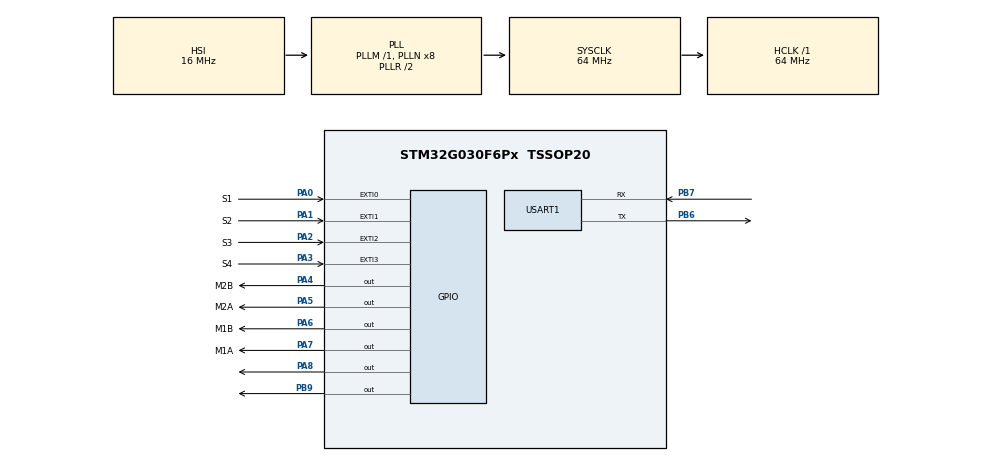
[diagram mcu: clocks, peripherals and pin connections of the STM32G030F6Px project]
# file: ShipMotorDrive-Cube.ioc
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Mcu.Family=STM32G0
Mcu.Name=STM32G030F6Px
Mcu.Package=TSSOP20
NVIC.EXTI0_1_IRQn=true\:0\:0\:false\:false\:true\:true\:true\:true
NVIC.EXTI2_3_IRQn=true\:0\:0\:false\:false\:true\:true\:true\:true
NVIC.TIM14_IRQn=true\:0\:0\:false\:false\:true\:true\:true\:true
NVIC.USART1_IRQn=true\:0\:0\:false\:false\:true\:true\:true\:true
PA0.GPIO_Label=S1
PA0.GPIO_ModeDefaultEXTI=GPIO_MODE_IT_FALLING
PA0.GPIO_PuPd=GPIO_PULLUP
PA0.Signal=GPXTI0
PA1.GPIO_Label=S2
PA1.GPIO_ModeDefaultEXTI=GPIO_MODE_IT_FALLING
PA1.GPIO_PuPd=GPIO_PULLUP
PA1.Signal=GPXTI1
PA13.Mode=Serial_Wire
PA13.Signal=SYS_SWDIO
PA14-BOOT0.Mode=Serial_Wire
PA14-BOOT0.Signal=SYS_SWCLK
PA14-BOOT0__PA15.StandardMode=true
PA2.GPIO_Label=S3
PA2.GPIO_ModeDefaultEXTI=GPIO_MODE_IT_FALLING
PA2.GPIO_PuPd=GPIO_PULLUP
PA2.Signal=GPXTI2
PA3.GPIO_Label=S4
PA3.GPIO_ModeDefaultEXTI=GPIO_MODE_IT_FALLING
PA3.GPIO_PuPd=GPIO_PULLUP
PA3.Signal=GPXTI3
PA4.GPIO_Label=M2B
PA4.PinState=GPIO_PIN_SET
PA4.Signal=GPIO_Output
PA5.GPIO_Label=M2A
PA5.PinState=GPIO_PIN_SET
PA5.Signal=GPIO_Output
PA6.GPIO_Label=M1B
PA6.PinState=GPIO_PIN_SET
PA6.Signal=GPIO_Output
PA7.GPIO_Label=M1A
PA7.PinState=GPIO_PIN_SET
PA7.Signal=GPIO_Output
PA8.Signal=GPIO_Output
PB0__PB1__PB2__PA8.StandardMode=true
PB3__PB4__PB5__PB6.StandardMode=true
PB6.Mode=Asynchronous
PB6.Signal=USART1_TX
PB7.Mode=Asynchronous
PB7.Signal=USART1_RX
PB7__PB8.StandardMode=true
PB9.Signal=GPIO_Output
PC14-OSC32_IN\ (PC14)__PB9.StandardMode=true
ProjectManager.HeapSize=0x200
ProjectManager.StackSize=0x400
ProjectManager.TargetToolchain=SW4STM32
RCC.ADCFreq_Value=64000000
RCC.AHBFreq_Value=64000000
RCC.CortexFreq_Value=64000000
RCC.EXTERNAL_CLOCK_VALUE=12288000
RCC.HCLKFreq_Value=64000000
RCC.HSE_VALUE=8000000
RCC.HSI_VALUE=16000000
RCC.LSE_VALUE=32768
RCC.SYSCLKFreq_VALUE=64000000
RCC.SYSCLKSource=RCC_SYSCLKSOURCE_PLLCLK
RCC.VCOOutputFreq_Value=128000000
TIM14.Period=99
TIM14.Prescaler=639
USART1.VirtualMode-Asynchronous=VM_ASYNC
VP_TIM14_VS_ClockSourceINT.Mode=Enable_Timer
board=custom

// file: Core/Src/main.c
/* USER CODE BEGIN Header */
/**
  ******************************************************************************
  * @file           : main.c
  * @brief          : Main program body
  ******************************************************************************
  * @attention
  *
  * Copyright (c) 2022 STMicroelectronics.
  * All rights reserved.
  *
  * This software is licensed under terms that can be found in the LICENSE file
  * in the root directory of this software component.
  * If no LICENSE file comes with this software, it is provided AS-IS.
  *
  ******************************************************************************
  */
/* USER CODE END Header */
#include "main.h"
#include "tim.h"
#include "usart.h"
#include "gpio.h"

/* USER CODE BEGIN Includes */
#include "string.h"
#include "../../User/config.h"
/* USER CODE END Includes */

void SystemClock_Config(void);
/* USER CODE BEGIN PFP */
uint8_t RS485_ReadRReceiveData();
void RS485_BufSend(uint8_t *buf, uint8_t len);
void MOTOR_DirectionControl(uint8_t mode);
uint16_t SW_PinRead();
uint16_t CRC16(uint8_t *start_byte, uint16_t num_bytes);
/* USER CODE END PFP */

/* USER CODE BEGIN 0 */
uint8_t aRxBuffer = 0;
struct RxData{
    uint8_t RxState;
    uint16_t RxCounter;
    uint8_t RxBuff[8];
}rx_data={0, 0, {0}};

uint16_t sw_pin = 0;
uint16_t ms = 0;
/* USER CODE END 0 */

int main(void)
{
  /* USER CODE BEGIN 1 */
  uint8_t motor_mode=0;
  /* USER CODE END 1 */

  /* MCU Configuration--------------------------------------------------------*/

  /* Reset of all peripherals, Initializes the Flash interface and the Systick. */
  HAL_Init();

  /* Configure the system clock */
  SystemClock_Config();

  /* Initialize all configured peripherals */
  MX_GPIO_Init();
  MX_USART1_UART_Init();
  MX_TIM14_Init();
  /* USER CODE BEGIN 2 */
  HAL_UART_Receive_IT(&huart1, &aRxBuffer, 1);
  HAL_TIM_Base_Start_IT(&htim14);
    //HAL_GPIO_WritePin(GPIOA, GPIO_PIN_8, GPIO_PIN_SET);
  //HAL_GPIO_WritePin(GPIOB, GPIO_PIN_9, GPIO_PIN_SET);
  /* USER CODE END 2 */

  /* Infinite loop */
  /* USER CODE BEGIN WHILE */
  while (1)
  {
    if(rx_data.RxState == 1)
    {
        motor_mode = RS485_ReadRReceiveData();
        rx_data.RxCounter = 0;
        rx_data.RxState = 0;
    }
    MOTOR_DirectionControl(motor_mode);
    motor_mode = 0;

    if(ms % 10000 == 0)
        HAL_GPIO_WritePin(GPIOA, GPIO_PIN_8, GPIO_PIN_SET);
      if(ms % 10100 == 0)
        HAL_GPIO_WritePin(GPIOA, GPIO_PIN_8, GPIO_PIN_RESET);
    /* USER CODE END WHILE */

  }
}

void SystemClock_Config(void)
{
  RCC_OscInitTypeDef RCC_OscInitStruct = {0};
  RCC_ClkInitTypeDef RCC_ClkInitStruct = {0};

  /** Configure the main internal regulator output voltage
  */
  HAL_PWREx_ControlVoltageScaling(PWR_REGULATOR_VOLTAGE_SCALE1);

  /** Initializes the RCC Oscillators according to the specified parameters
  * in the RCC_OscInitTypeDef structure.
  */
  RCC_OscInitStruct.OscillatorType = RCC_OSCILLATORTYPE_HSI;
  RCC_OscInitStruct.HSIState = RCC_HSI_ON;
  RCC_OscInitStruct.HSIDiv = RCC_HSI_DIV1;
  RCC_OscInitStruct.HSICalibrationValue = RCC_HSICALIBRATION_DEFAULT;
  RCC_OscInitStruct.PLL.PLLState = RCC_PLL_ON;
  RCC_OscInitStruct.PLL.PLLSource = RCC_PLLSOURCE_HSI;
  RCC_OscInitStruct.PLL.PLLM = RCC_PLLM_DIV1;
  RCC_OscInitStruct.PLL.PLLN = 8;
  RCC_OscInitStruct.PLL.PLLP = RCC_PLLP_DIV2;
  RCC_OscInitStruct.PLL.PLLR = RCC_PLLR_DIV2;
  if (HAL_RCC_OscConfig(&RCC_OscInitStruct) != HAL_OK)
  {
    Error_Handler();
  }

  /** Initializes the CPU, AHB and APB buses clocks
  */
  RCC_ClkInitStruct.ClockType = RCC_CLOCKTYPE_HCLK|RCC_CLOCKTYPE_SYSCLK
                              |RCC_CLOCKTYPE_PCLK1;
  RCC_ClkInitStruct.SYSCLKSource = RCC_SYSCLKSOURCE_PLLCLK;
  RCC_ClkInitStruct.AHBCLKDivider = RCC_SYSCLK_DIV1;
  RCC_ClkInitStruct.APB1CLKDivider = RCC_HCLK_DIV1;

  if (HAL_RCC_ClockConfig(&RCC_ClkInitStruct, FLASH_LATENCY_2) != HAL_OK)
  {
    Error_Handler();
  }
}

/* USER CODE BEGIN 4 */
void HAL_TIM_PeriodElapsedCallback(TIM_HandleTypeDef *htim)
{
    if(TIM14 == htim->Instance)
    {
        ms++;
    }
}

void HAL_GPIO_EXTI_Falling_Callback(uint16_t GPIO_Pin)
{
    sw_pin = GPIO_Pin;
}

//串口中断回调
void HAL_UART_RxCpltCallback(UART_HandleTypeDef *huart)
{
    rx_data.RxBuff[rx_data.RxCounter] = aRxBuffer;
    if(rx_data.RxCounter >0)
    {
        if(rx_data.RxCounter == 7)
        {
            rx_data.RxState = 1;
        }
        rx_data.RxCounter ++;
    }
    if(aRxBuffer == 0xa5 && rx_data.RxCounter == 0)
    {
        rx_data.RxCounter ++;
    }
    HAL_UART_Receive_IT(&huart1, &aRxBuffer, 1);
}

uint16_t SW_PinRead()
{
    static uint8_t sw_state = 0;
    static uint16_t old_ms;
    if(sw_pin == 0)
        return 0;
    if(sw_state == 0)
    {
        old_ms = ms;
        sw_state = 1;
    }
    if(sw_state == 1 && (ms - old_ms > 10))
    {

        if(HAL_GPIO_ReadPin(S1_GPIO_Port, sw_pin) == 0)
        {
            sw_state = 0;
            uint16_t sw_pin_old = sw_pin;
            sw_pin = 0;
            return sw_pin_old;
        }
    } else if(HAL_GPIO_ReadPin(S1_GPIO_Port, sw_pin) != 0)
    {
        sw_pin = 0;
        sw_state = 0;
    }
    return 0;
}

void RS485_BufSend(uint8_t *buf, uint8_t len)
{
    HAL_GPIO_WritePin(GPIOB, GPIO_PIN_9, GPIO_PIN_SET);
    uint8_t crc16 = CRC16(buf, 6);
    buf[6] = crc16;
    HAL_UART_Transmit(&huart1, buf, len, 0xffff);
    HAL_GPIO_WritePin(GPIOB, GPIO_PIN_9, GPIO_PIN_RESET);
}

//485协议处理
uint8_t RS485_ReadRReceiveData()
{
    if(rx_data.RxBuff[0] != 0xa5)
        return 0;
    if(rx_data.RxBuff[1] != 0xa5)
        return 0;
    if(rx_data.RxBuff[5] != 0x5a)
        return 0;
    if(rx_data.RxBuff[6] != 0x5a)
        return 0;
    if(rx_data.RxBuff[2] != DEVICE_ADDR) //读取设备地址
        return 0;
    uint8_t crc16 = CRC16(rx_data.RxBuff, 7);
    if(rx_data.RxBuff[7] != crc16)
        return 0;
    uint8_t TxData[7] = {0xa5, 0xa5, DEVICE_ADDR, 0x20, 0x5a, 0x5a, 0x00};
    //·RS485_BufSend(TxData, 7);
    return rx_data.RxBuff[4];
}

void MOTOR_DirectionControl(uint8_t mode)
{
    static  uint8_t motor1_state = 0;
    static  uint8_t motor2_state = 0;
    uint16_t sw_pin_num =  SW_PinRead();

    if(mode == MOTOR_FOREWORD)
    {
        motor1_state = 1;
        motor2_state = 1;
    }
    else if(mode == MOTOR_REVERSAL)
    {
        motor1_state = 2;
        motor2_state = 2;
    }
    if(motor1_state == 1)
    {
        if(HAL_GPIO_ReadPin(S1_GPIO_Port, S1_Pin) == 0)
        {
            motor1_state = 0;
            return;
        }
        HAL_GPIO_WritePin(M1A_GPIO_Port, M1A_Pin, GPIO_PIN_SET);
        HAL_GPIO_WritePin(M1B_GPIO_Port, M1B_Pin, GPIO_PIN_RESET);
        if(sw_pin_num == S1_Pin)
            motor1_state = 3;
    }
    if(motor1_state == 2)
    {
        if(HAL_GPIO_ReadPin(S2_GPIO_Port, S2_Pin) == 0)
        {
            motor1_state = 0;
            return;
        }
        HAL_GPIO_WritePin(M1A_GPIO_Port, M1A_Pin, GPIO_PIN_RESET);
        HAL_GPIO_WritePin(M1B_GPIO_Port, M1B_Pin, GPIO_PIN_SET);
        if(sw_pin_num == S2_Pin)
            motor1_state = 3;
    }
    if(motor1_state == 3)
    {
        HAL_GPIO_WritePin(M1A_GPIO_Port, M1A_Pin, GPIO_PIN_SET);
        HAL_GPIO_WritePin(M1B_GPIO_Port, M1B_Pin, GPIO_PIN_SET);
        motor1_state = 0;
    }

    if(motor2_state == 1)
    {
        if(HAL_GPIO_ReadPin(S3_GPIO_Port , S3_Pin) == 0)
        {
            motor2_state = 0;
            return;
        }
        HAL_GPIO_WritePin(M2A_GPIO_Port, M2A_Pin, GPIO_PIN_SET);
        HAL_GPIO_WritePin(M2B_GPIO_Port, M2B_Pin, GPIO_PIN_RESET);
        if(sw_pin_num == S3_Pin)
            motor2_state = 3;
    }
    if(motor2_state == 2)
    {
        HAL_GPIO_WritePin(M2A_GPIO_Port, M2A_Pin, GPIO_PIN_RESET);
        HAL_GPIO_WritePin(M2B_GPIO_Port, M2B_Pin, GPIO_PIN_SET);
    }
    if(motor2_state == 3)
    {
        HAL_GPIO_WritePin(M2A_GPIO_Port, M2A_Pin, GPIO_PIN_SET);
        HAL_GPIO_WritePin(M2B_GPIO_Port, M2B_Pin, GPIO_PIN_SET);
        motor2_state = 0;
    }
}

uint16_t CRC16(uint8_t *start_byte, uint16_t num_bytes)
{
    uint16_t check_sum = 0;
    while (num_bytes--)
    {
        check_sum += *start_byte++;
    }
    return check_sum;
}
/* USER CODE END 4 */

void Error_Handler(void)
{
  __disable_irq();
  while (1)
  {
  }
}
